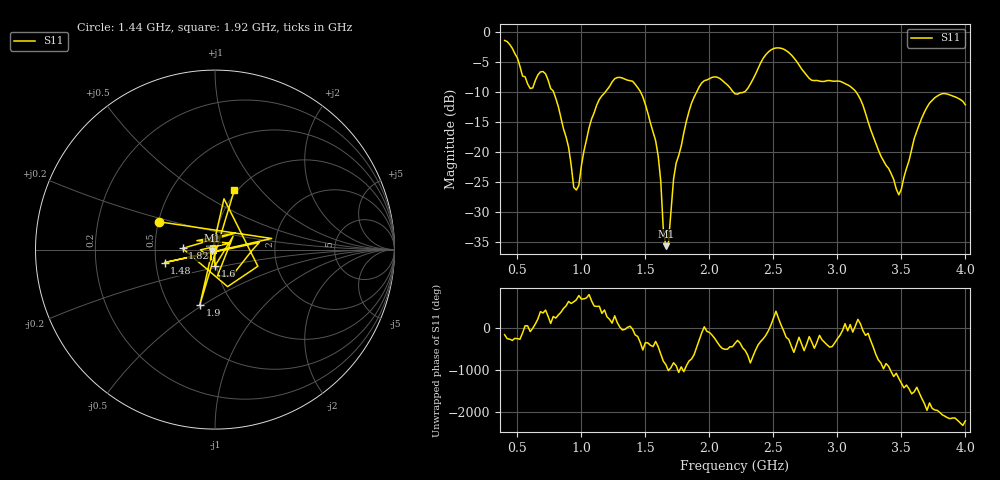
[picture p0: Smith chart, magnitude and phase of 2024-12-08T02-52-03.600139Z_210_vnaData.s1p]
!Created with skrf (http://scikit-rf.org).
# Hz S RI R 50.0
!freq ReS11 ImS11
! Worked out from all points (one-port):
!   181 points, 400 MHz to 4 GHz, reference 50 ohm
!   lowest |S11| = -35.7 dB at 1.66 GHz (marker M1), VSWR 1.03, Z = 48.5 - j0.65 ohm
!   |S11| at or under -10 dB: 783.4 MHz to 1.185 GHz (401.6 MHz wide, 40.8 % of centre); 1.463 GHz to 1.899 GHz (435.5 MHz wide, 25.9 % of centre); 3.148 GHz to end of sweep (the widest 3 of 4)
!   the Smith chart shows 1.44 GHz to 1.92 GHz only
!   S11 on the Smith chart (normalised r, x): 1.44 GHz: 0.51, +0.18; 1.48 GHz: 0.56, -0.09; 1.6 GHz: 0.98, -0.18; 1.82 GHz: 0.69, +0.01; 1.9 GHz: 0.71, -0.48; 1.92 GHz: 0.97, +0.74
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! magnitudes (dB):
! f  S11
! 400 MHz  -1.3
! 600 MHz  -9.4
! 720 MHz  -6.9
! 860 MHz  -16.1
! 960 MHz  -26.3
! 1.12 GHz  -12.1
! 1.3 GHz  -7.5
! 1.44 GHz  -9.2
! 1.48 GHz  -10.8
! 1.6 GHz  -20.6
! 1.64 GHz  -32.9
! 1.66 GHz  -35.7
! 1.68 GHz  -35.2
! 1.72 GHz  -24.5
! 1.76 GHz  -20.6
! 1.82 GHz  -14.8
! 1.9 GHz  -10.0
! 1.92 GHz  -9.1
! 2.06 GHz  -7.5
! 2.2 GHz  -10.3
! 2.48 GHz  -2.9
! 2.66 GHz  -4.3
! 2.8 GHz  -8.0
! 3.1 GHz  -9.0
! 3.48 GHz  -27.1
! 3.56 GHz  -21.4
! 3.76 GHz  -10.9
! 4 GHz  -12.1
